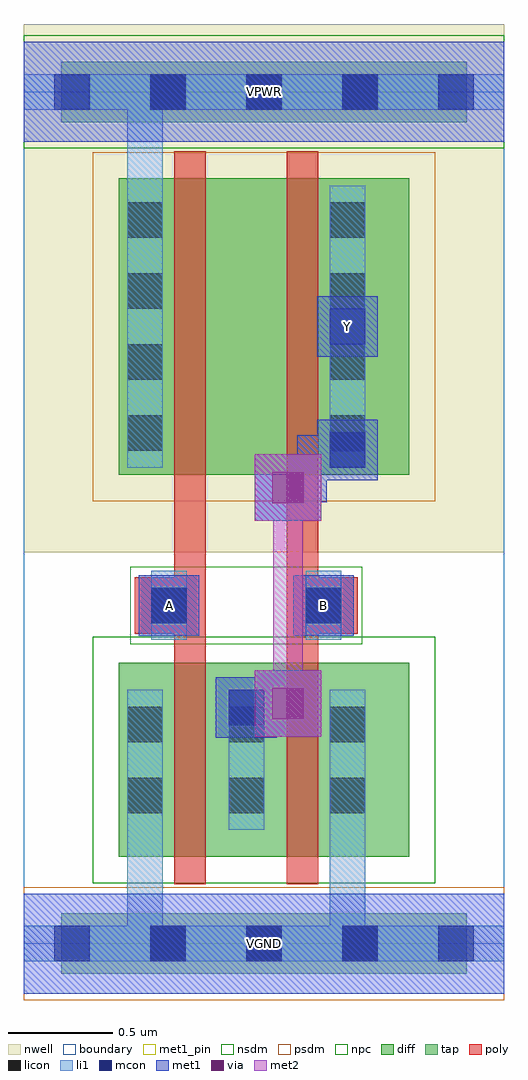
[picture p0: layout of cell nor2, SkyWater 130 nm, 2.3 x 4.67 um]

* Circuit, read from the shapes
.subckt nor2 A B VGND VPWR Y
XM1 Y A VGND VGND sky130_fd_pr__nfet_01v8 w=0.93 l=0.15
XM2 VGND B Y VGND sky130_fd_pr__nfet_01v8 w=0.93 l=0.15
XM3 n1 A VPWR VPWR sky130_fd_pr__pfet_01v8 w=1.42 l=0.15
XM4 Y B n1 VPWR sky130_fd_pr__pfet_01v8 w=1.42 l=0.15
.ends

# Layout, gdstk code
import gdstk
lib = gdstk.Library(unit=1e-6, precision=1e-09)
def R(c, l, rs):  # rectangles x0, y0, x1, y1
    for r in rs: c.add(gdstk.rectangle(r[:2], r[2:], *l))
def A(c, l, x, y, w, h, nx, ny, dx, dy):  # array of equal rectangles
    R(c, l, [(x+i*dx, y+j*dy, x+i*dx+w, y+j*dy+h) for i in range(nx) for j in range(ny)])
nwell = (64, 20)
diff = (65, 20)
tap = (65, 44)
poly = (66, 20)
licon = (66, 44)
li1 = (67, 20)
mcon = (67, 44)
met1_pin = (68, 16)
met1 = (68, 20)
via = (68, 44)
met2 = (69, 20)
nsdm = (93, 44)
psdm = (94, 20)
npc = (95, 20)
boundary = (235, 4)

nor2 = lib.new_cell('nor2')
R(nor2, nwell, [(0,1.875,2.3,4.405)])
R(nor2, diff, [(0.455,0.415,1.845,1.345), (0.455,2.245,1.845,3.665)])
R(nor2, tap, [(0.18,-0.145,2.12,0.145), (0.18,3.935,2.12,4.225)])
R(nor2, poly, [(0.72,0.285,0.87,3.795), (1.26,0.285,1.41,3.795), (0.53,1.485,0.86,1.755), (1.27,1.485,1.6,1.755)])
A(nor2, licon, 0.605, -0.085, 0.17, 0.17, 3, 2, 0.46, 4.08)
A(nor2, licon, 0.495, 0.625, 0.17, 0.17, 3, 2, 0.485, 0.34)
A(nor2, licon, 0.495, 2.36, 0.17, 0.17, 1, 4, 0, 0.34)
A(nor2, licon, 1.465, 2.36, 0.17, 0.17, 1, 4, 0, 0.34)
R(nor2, licon, [(0.61,1.535,0.78,1.705), (1.35,1.535,1.52,1.705)])
A(nor2, li1, 0.495, 0.545, 0.17, 0.67, 3, 1, 0.485, 0)
R(nor2, li1, [(0,-0.085,2.3,0.085), (0.495,-0.085,0.665,1.215), (1.465,-0.085,1.635,1.215), (0.61,1.455,0.78,1.785), (1.35,1.455,1.52,1.785), (0.495,2.28,0.665,3.63), (0.495,2.28,0.665,4.165), (1.465,2.28,1.635,3.63), (0,3.995,2.3,4.165)])
A(nor2, mcon, 0.145, -0.085, 0.17, 0.17, 5, 2, 0.46, 4.08)
R(nor2, mcon, [(0.98,1.045,1.15,1.215), (0.61,1.535,0.78,1.705), (1.35,1.535,1.52,1.705), (1.465,2.28,1.635,2.45), (1.465,2.87,1.635,3.04)])
R(nor2, met1_pin, [(0,-0.24,2.3,0.24), (0.55,1.475,0.84,1.765), (1.29,1.475,1.58,1.765), (1.405,2.81,1.695,3.1), (0,3.84,2.3,4.32)])
R(nor2, met1, [(0,-0.24,2.3,0.24), (0.92,0.985,1.21,1.275), (1.105,0.99,1.425,1.31), (0.995,1.06,1.335,1.2), (1.195,1.06,1.335,1.22), (0.55,1.475,0.84,1.765), (1.29,1.475,1.58,1.765), (1.105,2.025,1.425,2.345), (1.195,2.115,1.45,2.255), (1.31,2.115,1.45,2.435), (1.405,2.22,1.695,2.51), (1.31,2.295,1.62,2.435), (1.405,2.81,1.695,3.1), (0,3.84,2.3,4.32)])
R(nor2, via, [(1.19,1.075,1.34,1.225), (1.19,2.11,1.34,2.26)])
R(nor2, met2, [(1.105,0.99,1.425,1.31), (1.195,1.08,1.335,2.255), (1.105,2.025,1.425,2.345)])
R(nor2, nsdm, [(0.33,0.29,1.97,1.47), (0,3.81,2.3,4.35)])
R(nor2, psdm, [(0,-0.27,2.3,0.27), (0.33,2.12,1.97,3.79)])
R(nor2, npc, [(0.51,1.435,1.62,1.805)])
R(nor2, boundary, [(0,0,2.3,4.08)])
nor2.add(gdstk.Label('A', (0.695,1.62), layer=68, texttype=5))
nor2.add(gdstk.Label('B', (1.435,1.62), layer=68, texttype=5))
nor2.add(gdstk.Label('Y', (1.55,2.955), layer=68, texttype=5))
nor2.add(gdstk.Label('VPWR', (1.15,4.08), layer=68, texttype=5))
nor2.add(gdstk.Label('VGND', (1.15,0), layer=68, texttype=5))
nor2.add(gdstk.Label('A', (0.695,1.62), layer=68, texttype=16))
nor2.add(gdstk.Label('B', (1.435,1.62), layer=68, texttype=16))
nor2.add(gdstk.Label('Y', (1.55,2.955), layer=68, texttype=16))
nor2.add(gdstk.Label('VPWR', (1.15,4.08), layer=68, texttype=16))
nor2.add(gdstk.Label('VGND', (1.15,0), layer=68, texttype=16))

lib.write_gds('nor2.gds')
